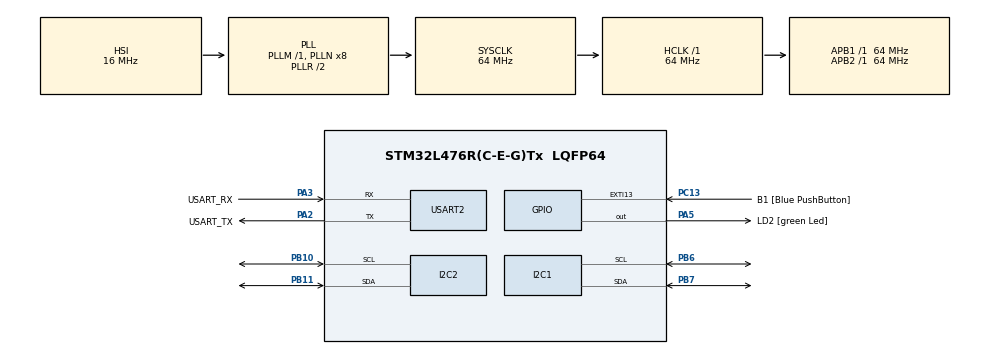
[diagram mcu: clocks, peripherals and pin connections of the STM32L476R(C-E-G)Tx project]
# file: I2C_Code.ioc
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I2C1.I2C_Fall_Time=0
I2C1.I2C_Rise_Time=0
I2C1.Timing=0x10707DBC
I2C2.I2C_Fall_Time=0
I2C2.I2C_Rise_Time=0
I2C2.Timing=0x10707DBC
Mcu.Family=STM32L4
Mcu.Name=STM32L476R(C-E-G)Tx
Mcu.Package=LQFP64
NVIC.EXTI15_10_IRQn=true\:0\:0\:false\:false\:true\:true\:true\:true
NVIC.I2C1_ER_IRQn=true\:0\:0\:false\:false\:true\:true\:true\:true
NVIC.I2C1_EV_IRQn=true\:0\:0\:false\:false\:true\:true\:true\:true
NVIC.I2C2_ER_IRQn=true\:0\:0\:false\:false\:true\:true\:true\:true
NVIC.I2C2_EV_IRQn=true\:0\:0\:false\:false\:true\:true\:true\:true
NVIC.PriorityGroup=NVIC_PRIORITYGROUP_4
NVIC.USART2_IRQn=true\:0\:0\:false\:false\:true\:true\:true\:true
PA13\ (JTMS-SWDIO).GPIO_Label=TMS
PA13\ (JTMS-SWDIO).Signal=SYS_JTMS-SWDIO
PA14\ (JTCK-SWCLK).GPIO_Label=TCK
PA14\ (JTCK-SWCLK).Signal=SYS_JTCK-SWCLK
PA2.GPIO_Label=USART_TX
PA2.GPIO_Mode=GPIO_MODE_AF_PP
PA2.GPIO_PuPd=GPIO_NOPULL
PA2.GPIO_Speed=GPIO_SPEED_FREQ_VERY_HIGH
PA2.Mode=Asynchronous
PA2.Signal=USART2_TX
PA3.GPIO_Label=USART_RX
PA3.GPIO_Mode=GPIO_MODE_AF_PP
PA3.GPIO_PuPd=GPIO_NOPULL
PA3.GPIO_Speed=GPIO_SPEED_FREQ_VERY_HIGH
PA3.Mode=Asynchronous
PA3.Signal=USART2_RX
PA5.GPIO_Label=LD2 [green Led]
PA5.GPIO_ModeDefaultOutputPP=GPIO_MODE_OUTPUT_PP
PA5.GPIO_PuPd=GPIO_NOPULL
PA5.GPIO_Speed=GPIO_SPEED_FREQ_LOW
PA5.Signal=GPIO_Output
PB10.GPIO_Pu=GPIO_PULLUP
PB10.Mode=I2C
PB10.Signal=I2C2_SCL
PB11.GPIO_Pu=GPIO_PULLUP
PB11.Mode=I2C
PB11.Signal=I2C2_SDA
PB3\ (JTDO-TRACESWO).GPIO_Label=SWO
PB3\ (JTDO-TRACESWO).Signal=SYS_JTDO-SWO
PB6.GPIO_Pu=GPIO_PULLUP
PB6.Mode=I2C
PB6.Signal=I2C1_SCL
PB7.GPIO_Pu=GPIO_PULLUP
PB7.Mode=I2C
PB7.Signal=I2C1_SDA
PC13.GPIO_Label=B1 [Blue PushButton]
PC13.GPIO_ModeDefaultEXTI=GPIO_MODE_IT_FALLING
PC13.GPIO_PuPd=GPIO_NOPULL
PC13.Signal=GPXTI13
PC14-OSC32_IN\ (PC14).Signal=RCC_OSC32_IN
PC15-OSC32_OUT\ (PC15).Signal=RCC_OSC32_OUT
PH0-OSC_IN\ (PH0).Signal=RCC_OSC_IN
PH1-OSC_OUT\ (PH1).Signal=RCC_OSC_OUT
ProjectManager.HeapSize=0x200
ProjectManager.StackSize=0x400
ProjectManager.TargetToolchain=STM32CubeIDE
RCC.ADCFreq_Value=64000000
RCC.AHBFreq_Value=64000000
RCC.APB1Freq_Value=64000000
RCC.APB1TimFreq_Value=64000000
RCC.APB2Freq_Value=64000000
RCC.APB2TimFreq_Value=64000000
RCC.CortexFreq_Value=64000000
RCC.HCLKFreq_Value=64000000
RCC.HSE_VALUE=8000000
RCC.HSI_VALUE=16000000
RCC.LSE_VALUE=32768
RCC.MSI_VALUE=4000000
RCC.PLLSourceVirtual=RCC_PLLSOURCE_HSI
RCC.PREFETCH_ENABLE=1
RCC.SYSCLKFreq_VALUE=64000000
RCC.SYSCLKSource=RCC_SYSCLKSOURCE_PLLCLK
RCC.USBFreq_Value=64000000
RCC.VCOOutputFreq_Value=128000000
USART2.VirtualMode-Asynchronous=VM_ASYNC
board=NUCLEO-L476RG

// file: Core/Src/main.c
/* USER CODE BEGIN Header */
/**
  ******************************************************************************
  * @file           : main.c
  * @brief          : Main program body
  ******************************************************************************
  * @attention
  *
  * Copyright (c) 2025 STMicroelectronics.
  * All rights reserved.
  *
  * This software is licensed under terms that can be found in the LICENSE file
  * in the root directory of this software component.
  * If no LICENSE file comes with this software, it is provided AS-IS.
  *
  ******************************************************************************
  */
/* USER CODE END Header */
#include "main.h"
#include<stdlib.h>
#include <string.h>
#include <stdio.h>

I2C_HandleTypeDef hi2c1;
I2C_HandleTypeDef hi2c2;

UART_HandleTypeDef huart2;

/* USER CODE BEGIN PV */
typedef struct {
   uint8_t channel;
   uint8_t data[2];
   void (*complete_callback)(uint8_t channel, uint8_t value);
} pcf8591_request_t;

#define PCF8591_ADDRESS 0x48 << 1

volatile uint8_t rx_byte = 0;
volatile char rx_buffer[64];
volatile uint8_t rx_index = 0;
volatile uint8_t status = 0;
volatile uint8_t i2c_tx_complete = 0;
volatile uint8_t i2c_rx_complete = 0;
uint8_t analog_data[2];
pcf8591_request_t current_request;
uint8_t channel;
uint8_t value;
uint8_t setDAC = 0;
/* USER CODE END PV */

void SystemClock_Config(void);
static void MX_GPIO_Init(void);
static void MX_I2C1_Init(void);
static void MX_USART2_UART_Init(void);
static void MX_I2C2_Init(void);

/* USER CODE BEGIN PFP */
uint8_t PCF8591_ReadAnalog(uint8_t channel);
void UART_Print(char *msg);
void PCF8591_SetDAC(uint8_t value);
/* USER CODE END PFP */

int main(void)
{

  /* MCU Configuration--------------------------------------------------------*/

  /* Reset of all peripherals, Initializes the Flash interface and the Systick. */
  HAL_Init();

  /* Configure the system clock */
  SystemClock_Config();

  /* Initialize all configured peripherals */
  MX_GPIO_Init();
  MX_I2C1_Init();
  MX_USART2_UART_Init();
  MX_I2C2_Init();
  /* USER CODE BEGIN 2 */
  UART_Print("Iniciando scanner I2C...\r\n");
  for (uint8_t addr = 1; addr < 128; addr++) {
      if (HAL_I2C_IsDeviceReady(&hi2c2, addr << 1, 3, 10) == HAL_OK) {
          char msg[64];
          snprintf(msg, sizeof(msg), "Dispositivo encontrado: 0x%02X\r\n", addr);
          UART_Print(msg);
      }
  }
  UART_Print("Scanner concluido.\r\n");

  /* USER CODE END 2 */

  /* Infinite loop */
  /* USER CODE BEGIN WHILE */
  UART_Print("UART Funcionando!\r\n");
  HAL_UART_Receive_IT(&huart2, (uint8_t *)&rx_byte, 1);
  while (1)
  {
	  if (status) {
	 	status = 0;
		char debug_msg[80];
		snprintf(debug_msg, sizeof(debug_msg), "Recebido: [%s]\r\n", rx_buffer);
		UART_Print(debug_msg);

        if (strncmp(rx_buffer, "Set_DAC_", 8) == 0) {
            value = atoi(&rx_buffer[8]);

    		char debug_value[10];
    		snprintf(debug_value, sizeof(debug_value), "Valor: [%u]\r\n", value);
    		UART_Print(debug_value);

            if (value >= 0 && value <= 255) {
                PCF8591_SetDAC((uint8_t)value);
            } else {
                UART_Print("Valor fora do intervalo (0–255)\r\n");
            }
        }

		if (strcmp(rx_buffer, "Read_AIN0") == 0){
			channel = 0;
			value = PCF8591_ReadAnalog(channel);
		}
		else if (strcmp(rx_buffer, "Read_AIN1") == 0){
			channel = 1;
			value = PCF8591_ReadAnalog(channel);
		}
		else if (strcmp(rx_buffer, "Read_AIN3") == 0){
			channel = 3;
			value = PCF8591_ReadAnalog(channel);
		}
		else {
			UART_Print("Canal invalido\r\n");
			channel = -1;
			value = 0;
		}

		char msg[32];
		snprintf(msg, sizeof(msg), "Canal %d: %u\r\n", channel, value);
		UART_Print(msg);
	 }

    /* USER CODE END WHILE */

  }
}

void SystemClock_Config(void)
{
  RCC_OscInitTypeDef RCC_OscInitStruct = {0};
  RCC_ClkInitTypeDef RCC_ClkInitStruct = {0};

  /** Configure the main internal regulator output voltage
  */
  if (HAL_PWREx_ControlVoltageScaling(PWR_REGULATOR_VOLTAGE_SCALE1) != HAL_OK)
  {
    Error_Handler();
  }

  /** Initializes the RCC Oscillators according to the specified parameters
  * in the RCC_OscInitTypeDef structure.
  */
  RCC_OscInitStruct.OscillatorType = RCC_OSCILLATORTYPE_HSI;
  RCC_OscInitStruct.HSIState = RCC_HSI_ON;
  RCC_OscInitStruct.HSICalibrationValue = RCC_HSICALIBRATION_DEFAULT;
  RCC_OscInitStruct.PLL.PLLState = RCC_PLL_ON;
  RCC_OscInitStruct.PLL.PLLSource = RCC_PLLSOURCE_HSI;
  RCC_OscInitStruct.PLL.PLLM = 1;
  RCC_OscInitStruct.PLL.PLLN = 8;
  RCC_OscInitStruct.PLL.PLLP = RCC_PLLP_DIV7;
  RCC_OscInitStruct.PLL.PLLQ = RCC_PLLQ_DIV2;
  RCC_OscInitStruct.PLL.PLLR = RCC_PLLR_DIV2;
  if (HAL_RCC_OscConfig(&RCC_OscInitStruct) != HAL_OK)
  {
    Error_Handler();
  }

  /** Initializes the CPU, AHB and APB buses clocks
  */
  RCC_ClkInitStruct.ClockType = RCC_CLOCKTYPE_HCLK|RCC_CLOCKTYPE_SYSCLK
                              |RCC_CLOCKTYPE_PCLK1|RCC_CLOCKTYPE_PCLK2;
  RCC_ClkInitStruct.SYSCLKSource = RCC_SYSCLKSOURCE_PLLCLK;
  RCC_ClkInitStruct.AHBCLKDivider = RCC_SYSCLK_DIV1;
  RCC_ClkInitStruct.APB1CLKDivider = RCC_HCLK_DIV1;
  RCC_ClkInitStruct.APB2CLKDivider = RCC_HCLK_DIV1;

  if (HAL_RCC_ClockConfig(&RCC_ClkInitStruct, FLASH_LATENCY_3) != HAL_OK)
  {
    Error_Handler();
  }
}

static void MX_I2C1_Init(void)
{

  hi2c1.Instance = I2C1;
  hi2c1.Init.Timing = 0x10707DBC;
  hi2c1.Init.OwnAddress1 = 0;
  hi2c1.Init.AddressingMode = I2C_ADDRESSINGMODE_7BIT;
  hi2c1.Init.DualAddressMode = I2C_DUALADDRESS_DISABLE;
  hi2c1.Init.OwnAddress2 = 0;
  hi2c1.Init.OwnAddress2Masks = I2C_OA2_NOMASK;
  hi2c1.Init.GeneralCallMode = I2C_GENERALCALL_DISABLE;
  hi2c1.Init.NoStretchMode = I2C_NOSTRETCH_DISABLE;
  if (HAL_I2C_Init(&hi2c1) != HAL_OK)
  {
    Error_Handler();
  }

  /** Configure Analogue filter
  */
  if (HAL_I2CEx_ConfigAnalogFilter(&hi2c1, I2C_ANALOGFILTER_ENABLE) != HAL_OK)
  {
    Error_Handler();
  }

  /** Configure Digital filter
  */
  if (HAL_I2CEx_ConfigDigitalFilter(&hi2c1, 0) != HAL_OK)
  {
    Error_Handler();
  }

}

static void MX_I2C2_Init(void)
{

  hi2c2.Instance = I2C2;
  hi2c2.Init.Timing = 0x10707DBC;
  hi2c2.Init.OwnAddress1 = 0;
  hi2c2.Init.AddressingMode = I2C_ADDRESSINGMODE_7BIT;
  hi2c2.Init.DualAddressMode = I2C_DUALADDRESS_DISABLE;
  hi2c2.Init.OwnAddress2 = 0;
  hi2c2.Init.OwnAddress2Masks = I2C_OA2_NOMASK;
  hi2c2.Init.GeneralCallMode = I2C_GENERALCALL_DISABLE;
  hi2c2.Init.NoStretchMode = I2C_NOSTRETCH_DISABLE;
  if (HAL_I2C_Init(&hi2c2) != HAL_OK)
  {
    Error_Handler();
  }

  /** Configure Analogue filter
  */
  if (HAL_I2CEx_ConfigAnalogFilter(&hi2c2, I2C_ANALOGFILTER_ENABLE) != HAL_OK)
  {
    Error_Handler();
  }

  /** Configure Digital filter
  */
  if (HAL_I2CEx_ConfigDigitalFilter(&hi2c2, 0) != HAL_OK)
  {
    Error_Handler();
  }

}

static void MX_USART2_UART_Init(void)
{

  huart2.Instance = USART2;
  huart2.Init.BaudRate = 115200;
  huart2.Init.WordLength = UART_WORDLENGTH_8B;
  huart2.Init.StopBits = UART_STOPBITS_1;
  huart2.Init.Parity = UART_PARITY_NONE;
  huart2.Init.Mode = UART_MODE_TX_RX;
  huart2.Init.HwFlowCtl = UART_HWCONTROL_NONE;
  huart2.Init.OverSampling = UART_OVERSAMPLING_16;
  huart2.Init.OneBitSampling = UART_ONE_BIT_SAMPLE_DISABLE;
  huart2.AdvancedInit.AdvFeatureInit = UART_ADVFEATURE_NO_INIT;
  if (HAL_UART_Init(&huart2) != HAL_OK)
  {
    Error_Handler();
  }

}

static void MX_GPIO_Init(void)
{
  GPIO_InitTypeDef GPIO_InitStruct = {0};

  /* GPIO Ports Clock Enable */
  __HAL_RCC_GPIOC_CLK_ENABLE();
  __HAL_RCC_GPIOH_CLK_ENABLE();
  __HAL_RCC_GPIOA_CLK_ENABLE();
  __HAL_RCC_GPIOB_CLK_ENABLE();

  /*Configure GPIO pin Output Level */
  HAL_GPIO_WritePin(LD2_GPIO_Port, LD2_Pin, GPIO_PIN_RESET);

  /*Configure GPIO pin : B1_Pin */
  GPIO_InitStruct.Pin = B1_Pin;
  GPIO_InitStruct.Mode = GPIO_MODE_IT_FALLING;
  GPIO_InitStruct.Pull = GPIO_NOPULL;
  HAL_GPIO_Init(B1_GPIO_Port, &GPIO_InitStruct);

  /*Configure GPIO pin : LD2_Pin */
  GPIO_InitStruct.Pin = LD2_Pin;
  GPIO_InitStruct.Mode = GPIO_MODE_OUTPUT_PP;
  GPIO_InitStruct.Pull = GPIO_NOPULL;
  GPIO_InitStruct.Speed = GPIO_SPEED_FREQ_LOW;
  HAL_GPIO_Init(LD2_GPIO_Port, &GPIO_InitStruct);

  /* EXTI interrupt init*/
  HAL_NVIC_SetPriority(EXTI15_10_IRQn, 0, 0);
  HAL_NVIC_EnableIRQ(EXTI15_10_IRQn);

}

/* USER CODE BEGIN 4 */
uint8_t PCF8591_ReadAnalog(uint8_t channel)
{
   uint8_t config_byte = 0x40 | (channel & 0x03);
   uint8_t analog_data[2] = {0};
   HAL_StatusTypeDef ret;
   char msg[64];
   snprintf(msg, sizeof(msg), "Iniciando leitura do canal %d\r\n", channel);
   UART_Print(msg);
   ret = HAL_I2C_Master_Transmit(&hi2c2, PCF8591_ADDRESS, &config_byte, 1, 1000);
   if (ret != HAL_OK) {
       snprintf(msg, sizeof(msg), "ERRO TX I2C: %d\r\n", ret);
       UART_Print(msg);
       return 0xFF;
   }
   ret = HAL_I2C_Master_Receive(&hi2c2, PCF8591_ADDRESS, analog_data, 2, 1000);
   if (ret != HAL_OK) {
       snprintf(msg, sizeof(msg), "ERRO RX I2C: %d\r\n", ret);
       UART_Print(msg);
       return 0xFF;
   }
   snprintf(msg, sizeof(msg), "Dados recebidos: [%u]\r\n", analog_data[1]);
   UART_Print(msg);
   return analog_data[1];
}
void UART_Print(char *msg) {
   HAL_UART_Transmit(&huart2, (uint8_t*)msg, strlen(msg), HAL_MAX_DELAY);
}
void HAL_UART_RxCpltCallback(UART_HandleTypeDef *huart)
{
   if (huart->Instance == USART2) {
       if (rx_byte != '\r' && rx_byte != '\n' && rx_index < sizeof(rx_buffer)-1) {
           rx_buffer[rx_index++] = (char)rx_byte;
       } else {
           rx_buffer[rx_index] = '\0';
           rx_index = 0;
           status = 1;
       }
       HAL_UART_Receive_IT(&huart2, (uint8_t *)&rx_byte, 1);
   }
}
void HAL_I2C_MasterTxCpltCallback(I2C_HandleTypeDef *hi2c)
{
   HAL_I2C_Master_Receive(&hi2c2, PCF8591_ADDRESS, current_request.data, 2, 1000);
}
void HAL_I2C_MasterRxCpltCallback(I2C_HandleTypeDef *hi2c)
{
   if(current_request.complete_callback) {
       current_request.complete_callback(current_request.channel, current_request.data[1]);
   }
}
void PCF8591_SetDAC(uint8_t value)
{
    uint8_t data[2];
    data[0] = 0x40;
    data[1] = value;

    char msg[50];
    snprintf(msg, sizeof(msg), "DAC set to %u\r\n", value);
    UART_Print(msg);

    HAL_StatusTypeDef ret = HAL_I2C_Master_Transmit_IT(&hi2c2, PCF8591_ADDRESS, data, 2);
    if (ret == HAL_OK) {
		char msg[50];
		snprintf(msg, sizeof(msg), "DAC: %u\r\n", value);
		UART_Print(msg);
    } else {
        UART_Print("Erro ao enviar valor para DAC!\r\n");
    }
}
/* USER CODE END 4 */

void Error_Handler(void)
{
  __disable_irq();
  while (1)
  {
  }
}
